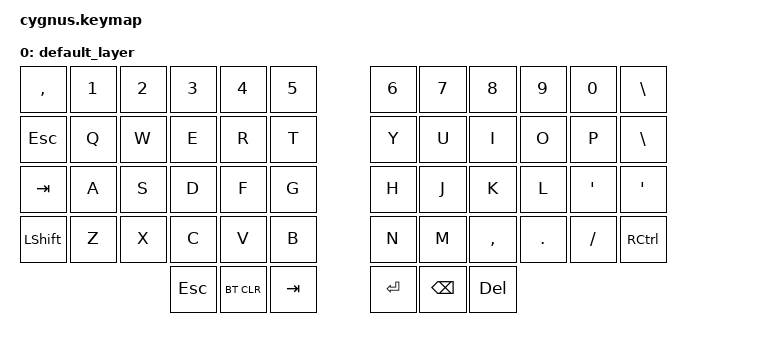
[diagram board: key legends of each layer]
#include <behaviors.dtsi>
#include <dt-bindings/zmk/keys.h>
#include <dt-bindings/zmk/bt.h>

/ {
	keymap {
		compatible = "zmk,keymap";

		default_layer {
// ---------------------------------------------------------------------------------------------------------------------------------
// |  ESC  |  Q  |  W  |  F   |  P   |  T   |    |  J   |  L   |  U  |  Y  |  '  |   \  |
// |  TAB  |  A  |  R  |  S   |  T   |  G   |    |  M   |  N   |  E  |  I  |  O  |   '  |
// | SHIFT |  Z  |  X  |  C   |  D   |  V   |    |  K   |  H   |  ,  |  .  |  /  | CTRL |
//                     | ESC  | SPC  | TAB  |    | RET  | BSPC | DEL |
			bindings = <
	&kp COMMA &kp 1 &kp 2 &kp 3 &kp 4 &kp 5         &kp 6 &kp 7  &kp 8     &kp 9   &kp 0    &kp BSLH
	&kp ESC   &kp Q &kp W &kp E &kp R &kp T         &kp Y &kp U  &kp I     &kp O   &kp P    &kp BSLH
	&kp TAB   &kp A &kp S &kp D &kp F &kp G         &kp H &kp J  &kp K     &kp L   &kp SQT    &kp SQT
	&kp LSHFT &kp Z &kp X &kp C &kp V &kp B         &kp N &kp M  &kp COMMA &kp DOT &kp FSLH &kp RCTRL
	                &kp ESC  &bt BT_CLR &kp TAB         &kp RET &kp BSPC &kp DEL
			>;
		};
	};
};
